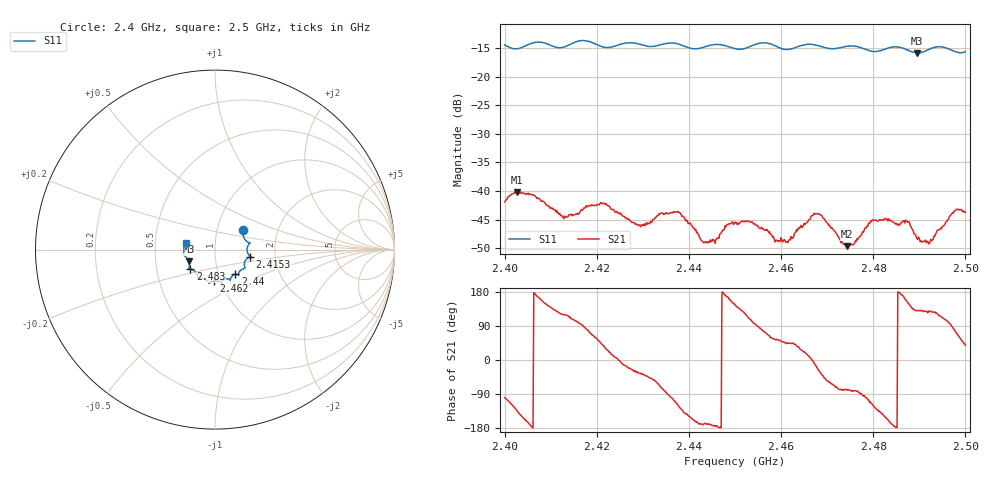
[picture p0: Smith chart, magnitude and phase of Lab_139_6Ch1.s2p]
# Hz S RI R 50
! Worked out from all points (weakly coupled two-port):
!   601 points, 2.4 GHz to 2.5 GHz, reference 50 ohm
!   highest |S21| = -40.17 dB at 2.4027 GHz (marker M1); lowest = -49.6 dB at 2.4743 GHz (marker M2)
!   lowest |S11| = -15.9 dB at 2.4895 GHz (marker M3), VSWR 1.38, Z = 36.9 - j5.01 ohm
!   |S11| at or under -10 dB: start of sweep to end of sweep
!   S12 and S22 are empty: the file has one direction only
!   S11 on the Smith chart (normalised r, x): 2.4 GHz: 1.33, +0.29; 2.4153 GHz: 1.48, -0.12; 2.44 GHz: 1.21, -0.34; 2.462 GHz: 0.93, -0.33; 2.483 GHz: 0.74, -0.17; 2.5 GHz: 0.72, +0.06
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2.4e9  0.1558 0.1067  -0.00136 -0.00792  0 0  0 0
2.402667e9  0.1623 0.0642  -0.00677 -0.0071  0 0  0 0
2.415333e9  0.1959 -0.0385  -0.00145 0.00607  0 0  0 0
2.416667e9  0.2017 -0.0425  -0.000501 0.00684  0 0  0 0
2.4215e9  0.1708 -0.0583  0.00619 0.00478  0 0  0 0
2.429333e9  0.159 -0.1068  0.00412 -0.00292  0 0  0 0
2.433333e9  0.1313 -0.1334  0.00276 -0.00547  0 0  0 0
2.44e9  0.1141 -0.1367  -0.00446 -0.00273  0 0  0 0
2.443833e9  0.0866 -0.1623  -0.00345 -0.000676  0 0  0 0
2.45e9  0.0646 -0.1629  -0.00442 0.00302  0 0  0 0
2.462e9  -0.00506 -0.1732  0.00268 0.00261  0 0  0 0
2.466667e9  -0.0344 -0.1877  0.00607 2.95e-05  0 0  0 0
2.4685e9  -0.0376 -0.1795  0.0052 -0.00333  0 0  0 0
2.474333e9  -0.0894 -0.1604  0.000709 -0.00322  0 0  0 0
2.4795e9  -0.1061 -0.1287  -0.00222 -0.00503  0 0  0 0
2.483e9  -0.1373 -0.1097  -0.00515 -0.00228  0 0  0 0
2.483333e9  -0.1399 -0.1096  -0.00536 -0.002  0 0  0 0
2.4875e9  -0.1428 -0.0924  -0.00468 0.00255  0 0  0 0
2.4895e9  -0.1464 -0.0661  -0.00249 0.00291  0 0  0 0
2.4925e9  -0.1725 -0.0308  -0.00229 0.00299  0 0  0 0
2.497667e9  -0.1656 0.00113  0.00138 0.00651  0 0  0 0
2.5e9  -0.1598 0.0391  0.00511 0.00407  0 0  0 0
